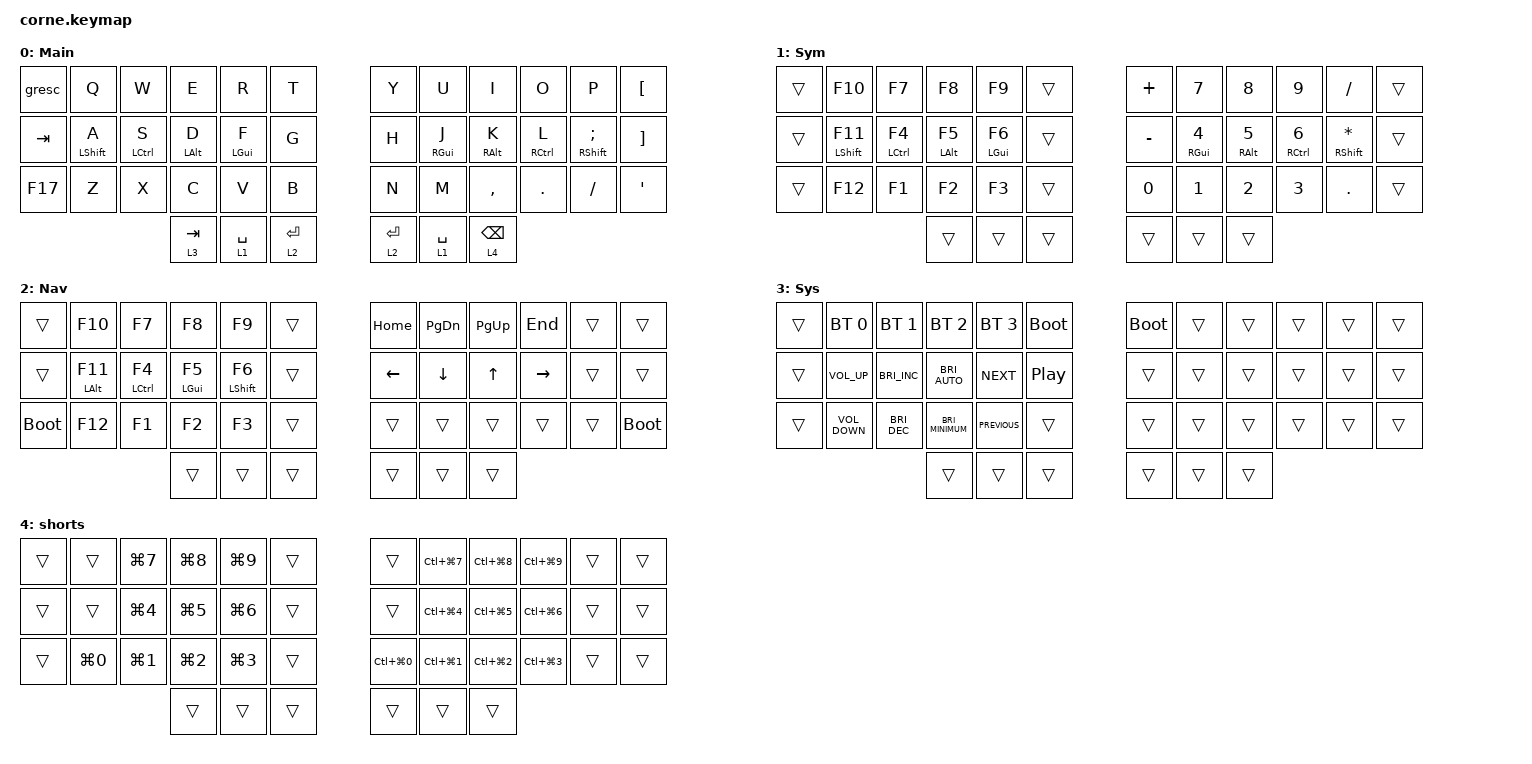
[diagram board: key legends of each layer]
/*
 * Copyright (c) 2020 The ZMK Contributors
 *
 * SPDX-License-Identifier: MIT
 */

#include "zmk-helpers/helper.h"
#include "zmk-helpers/key-labels/42.h"
#include <behaviors.dtsi>
#include <dt-bindings/zmk/bt.h>
#include <dt-bindings/zmk/keys.h>

#define LEFT_SIDE_KEYS LT0 LT1 LT2 LT3 LT4 LT5 LM0 LM1 LM2 LM3 LM4 LM5 LB0 LB1 LB2 LB3 LB4 LB5
#define RIGHT_SIDE_KEYS RT0 RT1 RT2 RT3 RT4 RT5 RM0 RM1 RM2 RM3 RM4 RM5 RB0 RB1 RB2 RB3 RB4 RB5
#define THUMB_KEYS LH2 LH1 LH0 RH0 RH1 RH2

&gresc {
};

/ {
    behaviors {
        hml: homerow_left_mods {
            flavor = "balanced";
            compatible = "zmk,behavior-hold-tap";
            label = "HOMEROW_LEFT_MODS";
            #binding-cells = <2>;
            tapping-term-ms = <280>;
            require-prior-idle-ms = <150>;

            /* hold-trigger-key-positions = <KEYS_L THUMBS>; */

            hold-trigger-on-release;
            bindings = <&kp>, <&kp>;

            hold-trigger-key-positions = <36 37 38>;
        };

        hmr: homerow_right_mods {
            flavor = "balanced";
            compatible = "zmk,behavior-hold-tap";
            label = "HOMEROW_RIGHT_MODS";
            #binding-cells = <2>;
            tapping-term-ms = <280>;
            require-prior-idle-ms = <150>;

            /* hold-trigger-key-positions = <KEYS_R THUMBS>; */

            hold-trigger-on-release;
            bindings = <&kp>, <&kp>;

            hold-trigger-key-positions = <39 40 41>;
        };

        ltq: ltq {
            compatible = "zmk,behavior-hold-tap";
            label = "LTQ";
            bindings = <&mo>, <&kp>;

            #binding-cells = <2>;
            tapping-term-ms = <600>;
            global-quick-tap;
            quick-tap-ms = <400>;
        };

        backspace_delete: backspace_delete {
            compatible = "zmk,behavior-mod-morph";
            label = "BACKSPACE_DELETE";
            bindings = <&kp BACKSPACE>, <&kp DEL>;

            #binding-cells = <0>;
            mods = <(MOD_RSFT|MOD_LSFT)>;
            keep-mods = <(MOD_RSFT)>;
        };
    };

    combos {
        compatible = "zmk,combos";

        left_bkt {
            bindings = <&kp LEFT_BRACKET>;
            key-positions = <4 5>;
            timeout-ms = <50>;
        };

        right_bkt {
            bindings = <&kp RBKT>;
            key-positions = <7 6>;
            timeout-ms = <50>;
        };

        left_par {
            bindings = <&kp LEFT_PARENTHESIS>;
            key-positions = <16 17>;
            timeout-ms = <50>;
        };

        right_par {
            bindings = <&kp RIGHT_PARENTHESIS>;
            key-positions = <19 18>;
            timeout-ms = <50>;
        };

        left_brace {
            bindings = <&kp LEFT_BRACE>;
            key-positions = <28 29>;
            timeout-ms = <50>;
        };

        right_brace {
            bindings = <&kp RIGHT_BRACE>;
            key-positions = <31 30>;
            timeout-ms = <50>;
        };

        bac {
            bindings = <&kp BACKSLASH>;
            key-positions = <5 6>;
        };

        pipe {
            bindings = <&kp PIPE>;
            key-positions = <17 18>;
        };

        underscore {
            bindings = <&kp UNDERSCORE>;
            key-positions = <28 27>;
        };

        plus {
            bindings = <&kp PLUS>;
            key-positions = <7 8>;
        };

        minus {
            bindings = <&kp MINUS>;
            key-positions = <31 32>;
        };

        equal {
            bindings = <&kp EQUAL>;
            key-positions = <3 4>;
        };

        grave {
            bindings = <&kp GRAVE>;
            key-positions = <0 1>;
        };

        tilde {
            bindings = <&kp TILDE>;
            key-positions = <24 25>;
        };

        exclamation {
            bindings = <&kp EXCLAMATION>;
            key-positions = <1 2>;
        };

        question {
            bindings = <&kp QUESTION>;
            key-positions = <25 26>;
        };

        slash {
            bindings = <&kp SLASH>;
            key-positions = <29 30>;
        };

        at {
            bindings = <&kp AT_SIGN>;
            key-positions = <10 11>;
        };

        dot {
            bindings = <&kp KP_DOT>;
            key-positions = <33 34>;
        };

        comma {
            bindings = <&kp COMMA>;
            key-positions = <32 33>;
        };

        multiply {
            bindings = <&kp KP_MULTIPLY>;
            key-positions = <2 3>;
        };

        divide {
            bindings = <&kp KP_DIVIDE>;
            key-positions = <26 27>;
        };

        dollar {
            bindings = <&kp DOLLAR>;
            key-positions = <8 9>;
        };

        ampersand {
            bindings = <&kp AMPERSAND>;
            key-positions = <34 35>;
        };

        Hash {
            bindings = <&kp HASH>;
            key-positions = <9 10>;
        };
    };

    keymap {
        compatible = "zmk,keymap";

        main {
            bindings = <
&gresc   &kp Q              &kp W         &kp E            &kp R            &kp T         &kp Y         &kp U             &kp I             &kp O         &kp P                       &kp LEFT_BRACKET
&kp TAB  &hml LEFT_SHIFT A  &hml LCTRL S  &hml LEFT_ALT D  &hml LEFT_GUI F  &kp G         &kp H         &hmr RIGHT_GUI J  &hmr RIGHT_ALT K  &hmr RCTRL L  &hmr RIGHT_SHIFT SEMICOLON  &kp RIGHT_BRACKET
&kp F17  &kp Z              &kp X         &kp C            &kp V            &kp B         &kp N         &kp M             &kp COMMA         &kp DOT       &kp FSLH                    &kp APOSTROPHE
                                          &ltq 3 TAB       &ltq 1 SPACE     &ltq 2 ENTER  &ltq 2 ENTER  &ltq 1 SPACE      &ltq 4 BACKSPACE
            >;

            label = "Main";
        };

        sym {
            bindings = <
&trans  &kp F10              &kp F7         &kp F8            &kp F9            &trans  &kp PLUS      &kp N7             &kp N8             &kp N9         &kp SLASH                  &trans
&trans  &hml LEFT_SHIFT F11  &hml LCTRL F4  &hml LEFT_ALT F5  &hml LEFT_GUI F6  &trans  &kp MINUS     &hmr RIGHT_GUI N4  &hmr RIGHT_ALT N5  &hmr RCTRL N6  &hmr RIGHT_SHIFT ASTERISK  &trans
&trans  &kp F12              &kp F1         &kp F2            &kp F3            &trans  &kp NUMBER_0  &kp N1             &kp N2             &kp N3         &kp DOT                    &trans
                                            &trans            &trans            &trans  &trans        &trans             &trans
            >;

            label = "Sym";
        };

        nav {
            bindings = <
&trans       &kp F10        &kp F7         &kp F8        &kp F9          &trans  &kp HOME  &kp PAGE_DOWN   &kp PAGE_UP   &kp END          &trans  &trans
&trans       &hml LALT F11  &hml LCTRL F4  &hml LGUI F5  &hml LSHIFT F6  &trans  &kp LEFT  &kp DOWN_ARROW  &kp UP_ARROW  &kp RIGHT_ARROW  &trans  &trans
&bootloader  &kp F12        &kp F1         &kp F2        &kp F3          &trans  &trans    &trans          &trans        &trans           &trans  &bootloader
                                           &trans        &trans          &trans  &trans    &trans          &trans
            >;

            label = "Nav";
        };

        sys {
            bindings = <
&trans  &bt BT_SEL 0       &bt BT_SEL 1          &bt BT_SEL 2              &bt BT_SEL 3    &bootloader       &bootloader  &trans  &trans  &trans  &trans  &trans
&trans  &kp C_VOLUME_UP    &kp C_BRIGHTNESS_INC  &kp C_BRIGHTNESS_AUTO     &kp C_NEXT      &kp C_PLAY_PAUSE  &trans       &trans  &trans  &trans  &trans  &trans
&trans  &kp C_VOLUME_DOWN  &kp C_BRIGHTNESS_DEC  &kp C_BRIGHTNESS_MINIMUM  &kp C_PREVIOUS  &trans            &trans       &trans  &trans  &trans  &trans  &trans
                                                 &trans                    &trans          &trans            &trans       &trans  &trans
            >;

            label = "Sys";
        };

        shorts {
            bindings = <
&trans  &trans      &kp LG(N7)  &kp LG(N8)  &kp LG(N9)  &trans  &trans          &kp LC(LG(N7))  &kp LC(LG(N8))  &kp LC(LG(N9))  &trans  &trans
&trans  &trans      &kp LG(N4)  &kp LG(N5)  &kp LG(N6)  &trans  &trans          &kp LC(LG(N4))  &kp LC(LG(N5))  &kp LC(LG(N6))  &trans  &trans
&trans  &kp LG(N0)  &kp LG(N1)  &kp LG(N2)  &kp LG(N3)  &trans  &kp LC(LG(N0))  &kp LC(LG(N1))  &kp LC(LG(N2))  &kp LC(LG(N3))  &trans  &trans
                                &trans      &trans      &trans  &trans          &trans          &trans
            >;
        };
    };
};
